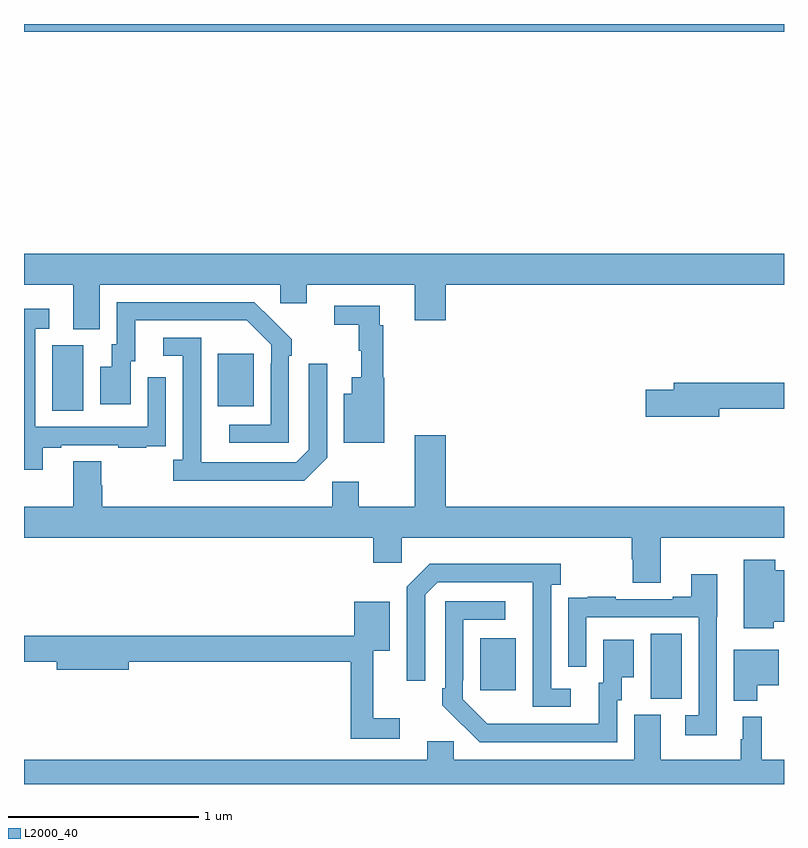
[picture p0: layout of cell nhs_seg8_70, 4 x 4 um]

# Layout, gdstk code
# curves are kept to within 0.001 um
import gdstk
lib = gdstk.Library(unit=1e-6, precision=1e-09)
def R(c, l, rs):  # rectangles x0, y0, x1, y1
    for r in rs: c.add(gdstk.rectangle(r[:2], r[2:], *l))
def P(c, l, *ps):  # polygons
    for p in ps: c.add(gdstk.Polygon(p, *l))
L2000_40 = (2000, 40)

nhs_seg8_70 = lib.new_cell('nhs_seg8_70')
R(nhs_seg8_70, L2000_40, [(118.298,1086.349,118.462,1086.692), (117.401,1086.393,117.589,1086.667), (115.148,1087.864,115.312,1088.208), (116.021,1087.889,116.209,1088.164), (115,1089.86,119,1089.9)])
P(nhs_seg8_70, L2000_40, [(115.399,1088.528),(116.349,1088.528),(116.349,1088.43),(116.488,1088.43),(116.488,1088.528),(117.056,1088.528),(117.056,1088.34),(117.22,1088.34),(117.22,1088.528),(119,1088.528),(119,1088.692),(115,1088.692),(115,1088.528),(115.259,1088.528),(115.259,1088.293),(115.399,1088.293)],
  [(116.394,1088.153),(116.409,1088.153),(116.409,1088.241),(116.212,1088.436),(115.488,1088.436),(115.488,1088.214),(115.463,1088.214),(115.463,1088.095),(115.4,1088.095),(115.4,1087.899),(115.561,1087.899),(115.561,1088.124),(115.585,1088.124),(115.585,1088.34),(116.173,1088.34),(116.301,1088.211),(116.301,1088.111),(116.298,1088.111),(116.298,1087.791),(116.079,1087.791),(116.079,1087.695),(116.394,1087.695)],
  [(116.897,1088.037),(116.891,1088.037),(116.891,1088.315),(116.873,1088.315),(116.873,1088.418),(116.634,1088.418),(116.634,1088.317),(116.763,1088.317),(116.763,1088.181),(116.774,1088.181),(116.774,1088.041),(116.726,1088.041),(116.726,1087.954),(116.684,1087.954),(116.684,1087.697),(116.897,1087.697)],
  [(115.099,1087.671),(115.195,1087.671),(115.195,1087.683),(115.495,1087.683),(115.495,1087.671),(115.643,1087.671),(115.643,1087.677),(115.745,1087.677),(115.745,1087.786),(115.746,1087.786),(115.746,1088.041),(115.65,1088.041),(115.65,1087.779),(115.059,1087.779),(115.059,1088.295),(115.132,1088.295),(115.132,1088.401),(115,1088.401),(115,1087.554),(115.099,1087.554)],
  [(116.595,1087.617),(116.595,1088.113),(116.499,1088.113),(116.499,1087.659),(116.433,1087.593),(115.933,1087.593),(115.932,1088.25),(115.734,1088.25),(115.734,1088.154),(115.836,1088.154),(115.836,1087.606),(115.785,1087.606),(115.785,1087.496),(116.474,1087.496)],
  [(118.66,1087.876),(119,1087.876),(119,1088.012),(118.421,1088.012),(118.421,1087.976),(118.272,1087.976),(118.272,1087.834),(118.66,1087.834)],
  [(118.351,1087.196),(119,1087.196),(119,1087.36),(117.22,1087.36),(117.22,1087.735),(117.056,1087.735),(117.056,1087.36),(116.761,1087.36),(116.761,1087.492),(116.622,1087.492),(116.622,1087.36),(115.412,1087.36),(115.412,1087.473),(115.407,1087.473),(115.407,1087.598),(115.259,1087.598),(115.259,1087.36),(115,1087.36),(115,1087.196),(116.837,1087.196),(116.837,1087.065),(116.988,1087.065),(116.988,1087.196),(118.199,1087.196),(118.199,1087.083),(118.204,1087.083),(118.204,1086.958),(118.351,1086.958)],
  [(118.945,1086.755),(119,1086.755),(119,1087.024),(118.953,1087.024),(118.953,1087.081),(118.787,1087.081),(118.787,1086.719),(118.945,1086.719)],
  [(117.877,1086.402),(117.774,1086.402),(117.774,1086.95),(117.826,1086.95),(117.826,1087.06),(117.136,1087.06),(117.015,1086.939),(117.015,1086.444),(117.111,1086.444),(117.111,1086.897),(117.177,1086.963),(117.677,1086.963),(117.678,1086.306),(117.877,1086.306)],
  [(118.647,1086.78),(118.648,1086.78),(118.648,1087.003),(118.511,1087.003),(118.511,1086.886),(118.415,1086.886),(118.415,1086.873),(118.115,1086.873),(118.115,1086.886),(117.967,1086.886),(117.967,1086.879),(117.865,1086.879),(117.865,1086.77),(117.864,1086.77),(117.864,1086.516),(117.96,1086.516),(117.96,1086.777),(118.551,1086.777),(118.551,1086.261),(118.479,1086.261),(118.479,1086.156),(118.647,1086.156)],
  [(118.122,1086.342),(118.147,1086.342),(118.147,1086.461),(118.21,1086.461),(118.21,1086.658),(118.049,1086.658),(118.049,1086.432),(118.025,1086.432),(118.025,1086.216),(117.438,1086.217),(117.309,1086.345),(117.309,1086.445),(117.312,1086.445),(117.312,1086.765),(117.532,1086.765),(117.532,1086.861),(117.216,1086.861),(117.216,1086.403),(117.201,1086.403),(117.201,1086.315),(117.398,1086.12),(118.122,1086.12)],
  [(116.977,1086.247),(116.837,1086.247),(116.837,1086.602),(116.926,1086.602),(116.926,1086.859),(116.739,1086.859),(116.739,1086.68),(115,1086.68),(115,1086.544),(115.172,1086.544),(115.172,1086.502),(115.552,1086.502),(115.552,1086.544),(116.719,1086.544),(116.719,1086.138),(116.977,1086.138)],
  [(118.858,1086.419),(118.972,1086.419),(118.972,1086.607),(118.736,1086.607),(118.736,1086.338),(118.858,1086.338)],
  [(119,1086.028),(118.883,1086.028),(118.883,1086.253),(118.784,1086.253),(118.784,1086.135),(118.773,1086.135),(118.773,1086.028),(118.351,1086.028),(118.351,1086.264),(118.211,1086.264),(118.211,1086.028),(117.261,1086.028),(117.261,1086.126),(117.122,1086.126),(117.122,1086.028),(115,1086.028),(115,1085.9),(119,1085.9)])

lib.write_gds('nhs_seg8_70.gds')
